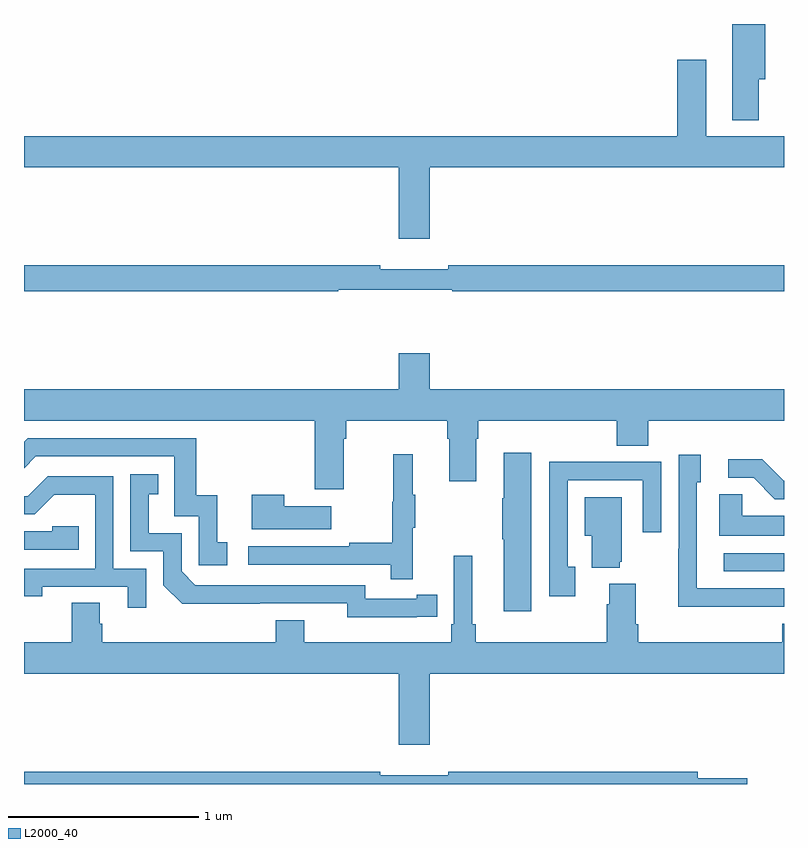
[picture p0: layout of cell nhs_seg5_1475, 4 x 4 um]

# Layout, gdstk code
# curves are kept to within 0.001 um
import gdstk
lib = gdstk.Library(unit=1e-6, precision=1e-09)
def R(c, l, rs):  # rectangles x0, y0, x1, y1
    for r in rs: c.add(gdstk.rectangle(r[:2], r[2:], *l))
def P(c, l, *ps):  # polygons
    for p in ps: c.add(gdstk.Polygon(p, *l))
L2000_40 = (2000, 40)

nhs_seg5_1475 = lib.new_cell('nhs_seg5_1475')
R(nhs_seg5_1475, L2000_40, [(202.683,903.918,203,904.014)])
P(nhs_seg5_1475, L2000_40, [(202.867,906.509),(202.9,906.509),(202.9,906.799),(202.727,906.799),(202.727,906.293),(202.867,906.293)],
  [(201.136,906.044),(203,906.044),(203,906.208),(202.591,906.208),(202.591,906.61),(202.439,906.61),(202.439,906.208),(199,906.208),(199,906.044),(200.972,906.044),(200.972,905.67),(201.136,905.67)],
  [(200.655,905.4),(201.255,905.4),(201.255,905.392),(203,905.392),(203,905.528),(201.232,905.528),(201.232,905.509),(200.876,905.509),(200.876,905.528),(199,905.528),(199,905.392),(200.655,905.392)],
  [(200.683,904.616),(200.696,904.616),(200.696,904.712),(201.227,904.712),(201.227,904.616),(201.239,904.616),(201.239,904.392),(201.379,904.392),(201.379,904.616),(201.392,904.616),(201.392,904.712),(202.121,904.712),(202.121,904.579),(202.286,904.579),(202.286,904.712),(203,904.712),(203,904.876),(201.136,904.876),(201.136,905.065),(200.972,905.065),(200.972,904.876),(199,904.876),(199,904.712),(200.531,904.712),(200.531,904.35),(200.683,904.35)],
  [(200.071,904.071),(200.018,904.071),(200.018,904.318),(199.907,904.318),(199.907,904.62),(199.02,904.62),(199,904.6),(199,904.462),(199.062,904.524),(199.791,904.524),(199.791,904.209),(199.92,904.209),(199.92,903.951),(200.071,903.951)],
  [(201.67,904.543),(201.524,904.543),(201.524,904.304),(201.517,904.304),(201.517,904.087),(201.524,904.087),(201.524,903.708),(201.67,903.708)],
  [(201.047,904.147),(201.058,904.147),(201.058,904.321),(201.047,904.321),(201.047,904.534),(200.944,904.534),(200.944,904.284),(200.937,904.284),(200.937,904.07),(200.713,904.07),(200.713,904.05),(200.181,904.05),(200.181,903.954),(200.929,903.954),(200.929,903.876),(201.047,903.876)],
  [(202.907,903.732),(203,903.732),(203,903.828),(202.542,903.828),(202.542,904.386),(202.561,904.386),(202.561,904.531),(202.446,904.531),(202.446,904.037),(202.444,904.037),(202.444,903.731),(202.907,903.731)],
  [(203,904.395),(202.998,904.395),(202.885,904.508),(202.707,904.508),(202.707,904.41),(202.841,904.41),(202.952,904.299),(203,904.299)],
  [(201.901,903.942),(201.861,903.942),(201.861,904.398),(202.257,904.398),(202.257,904.125),(202.353,904.125),(202.353,904.494),(202.037,904.494),(202.037,904.496),(201.765,904.496),(201.765,903.786),(201.901,903.786)],
  [(201.068,903.678),(201.176,903.678),(201.176,903.794),(201.068,903.794),(201.068,903.774),(200.796,903.774),(200.796,903.846),(199.902,903.846),(199.83,903.918),(199.83,904.119),(199.657,904.119),(199.657,904.323),(199.706,904.323),(199.706,904.429),(199.56,904.429),(199.56,904.023),(199.734,904.023),(199.734,903.846),(199.832,903.749),(200.7,903.75),(200.7,903.677)],
  [(199.644,903.933),(199.47,903.933),(199.47,904.419),(199.124,904.419),(199.019,904.314),(199,904.314),(199,904.218),(199.056,904.218),(199.16,904.322),(199.374,904.322),(199.374,903.933),(199,903.933),(199,903.786),(199.096,903.786),(199.096,903.837),(199.547,903.837),(199.547,903.726),(199.644,903.726)],
  [(203,904.21),(202.779,904.21),(202.779,904.325),(202.658,904.325),(202.658,904.106),(203,904.106)],
  [(200.617,904.261),(200.369,904.261),(200.369,904.321),(200.198,904.321),(200.198,904.139),(200.617,904.139)],
  [(202.136,903.969),(202.147,903.969),(202.147,904.309),(201.95,904.309),(201.95,904.106),(201.989,904.106),(201.989,903.938),(202.136,903.938)],
  [(199.289,904.155),(199.149,904.155),(199.149,904.128),(199,904.128),(199,904.032),(199.289,904.032)],
  [(201.136,903.38),(203,903.38),(203,903.643),(202.991,903.643),(202.991,903.544),(202.232,903.544),(202.232,903.64),(202.219,903.64),(202.219,903.853),(202.079,903.853),(202.079,903.746),(202.067,903.746),(202.067,903.544),(201.377,903.544),(201.377,903.64),(201.358,903.64),(201.358,904),(201.261,904),(201.261,903.64),(201.248,903.64),(201.248,903.544),(200.476,903.544),(200.476,903.661),(200.324,903.661),(200.324,903.544),(199.412,903.544),(199.412,903.642),(199.399,903.642),(199.399,903.752),(199.252,903.752),(199.252,903.544),(199,903.544),(199,903.38),(200.972,903.38),(200.972,903.006),(201.136,903.006)],
  [(202.807,902.828),(202.546,902.828),(202.546,902.864),(201.232,902.864),(201.232,902.845),(200.876,902.845),(200.876,902.864),(199,902.864),(199,902.799),(202.807,902.799)])

lib.write_gds('nhs_seg5_1475.gds')
